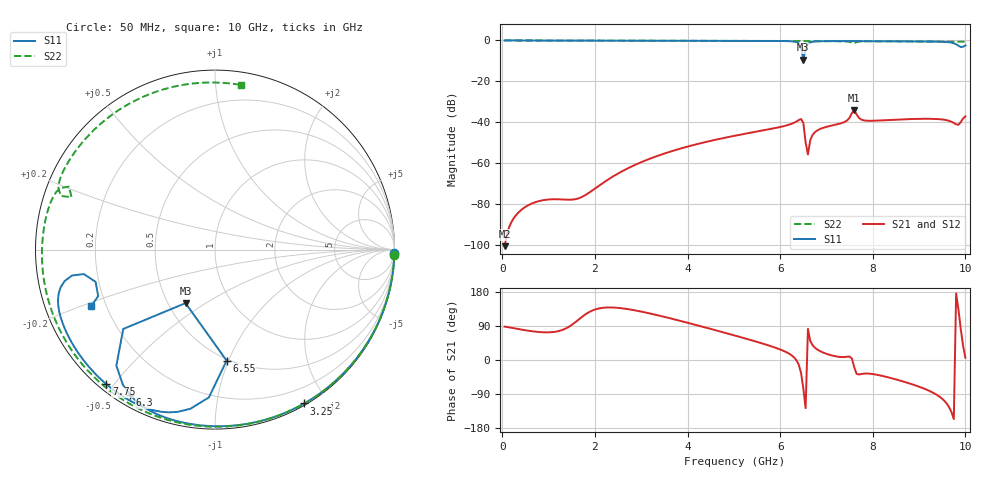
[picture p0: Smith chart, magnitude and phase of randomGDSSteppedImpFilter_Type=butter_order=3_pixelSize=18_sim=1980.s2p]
! freq	dB(S11)	phase(S11)	dB(S12)	phase(S12)
!  dB(S21)	phase(S21)	dB(S22)	phase(S22)
!S-par simulation data
#  GHz  S  DB  R 50
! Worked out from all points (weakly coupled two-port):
!   200 points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, 50 MHz to 10 GHz, reference 50 ohm
!   highest |S21| = -34.08 dB at 7.6 GHz (marker M1); lowest = -100.6 dB at 50 MHz (marker M2)
!   lowest |S11| = -9.4 dB at 6.5 GHz (marker M3), VSWR 2.03, Z = 30.6 - j20.6 ohm
!   |S11| at or under -10 dB: nowhere
!   |S22| runs from -1.4 to 0.0 dB; largest |S21 - S12| = 0
!   S11 on the Smith chart (normalised r, x): 50 MHz: open; 3.25 GHz: 0.02, -1.74; 6.3 GHz: 0.04, -0.57; 6.55 GHz: 0.49, -0.98; 7.75 GHz: 0.02, -0.48; 10 GHz: 0.14, -0.21
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0.05  -0.00 -1.0  -100.62 88.0  -100.62 88.0  -0.00 -1.6
0.85  -0.02 -16.1  -78.27 73.4  -78.27 73.4  -0.03 -26.7
1.75  -0.04 -32.9  -76.19 116.5  -76.19 116.5  -0.07 -53.8
2.55  -0.06 -47.5  -64.44 137.0  -64.44 137.0  -0.09 -76.5
3.25  -0.08 -59.9  -57.30 121.1  -57.30 121.1  -0.12 -95.3
3.4  -0.08 -62.5  -56.08 116.8  -56.08 116.8  -0.12 -99.2
5.05  -0.14 -90.8  -46.48 63.6  -46.48 63.6  -0.20 -139.8
6.3  -0.55 -120.2  -40.25 6.9  -40.25 6.9  -0.28 -169.5
6.4  -1.42 -130.3  -38.96 -12.0  -38.96 -12.0  -0.29 -172.0
6.45  -3.40 -139.1  -38.42 -33.4  -38.42 -33.4  -0.29 -173.2
6.5  -9.36 -118.8  -40.25 -74.3  -40.25 -74.3  -0.30 -174.4
6.55  -4.12 -84.0  -49.92 -127.2  -49.92 -127.2  -0.30 -175.6
6.6  -1.68 -92.4  -55.76 82.2  -55.76 82.2  -0.31 -176.8
6.65  -0.94 -98.8  -48.71 50.1  -48.71 50.1  -0.31 -178.1
6.7  -0.65 -103.0  -46.20 39.1  -46.20 39.1  -0.32 -179.3
7.4  -0.30 -122.8  -39.77 7.9  -39.77 7.9  -0.46 161.9
7.6  -0.32 -126.3  -34.08 -19.3  -34.08 -19.3  -1.40 159.9
7.75  -0.32 -128.9  -38.68 -37.0  -38.68 -37.0  -0.48 156.6
8.35  -0.37 -138.8  -38.90 -46.3  -38.90 -46.3  -0.45 138.2
9.4  -0.58 -157.7  -38.46 -93.3  -38.46 -93.3  -0.57 104.1
9.8  -1.84 -169.7  -41.05 176.0  -41.05 176.0  -0.62 89.1
10  -2.40 -155.4  -37.12 6.1  -37.12 6.1  -0.64 81.0
